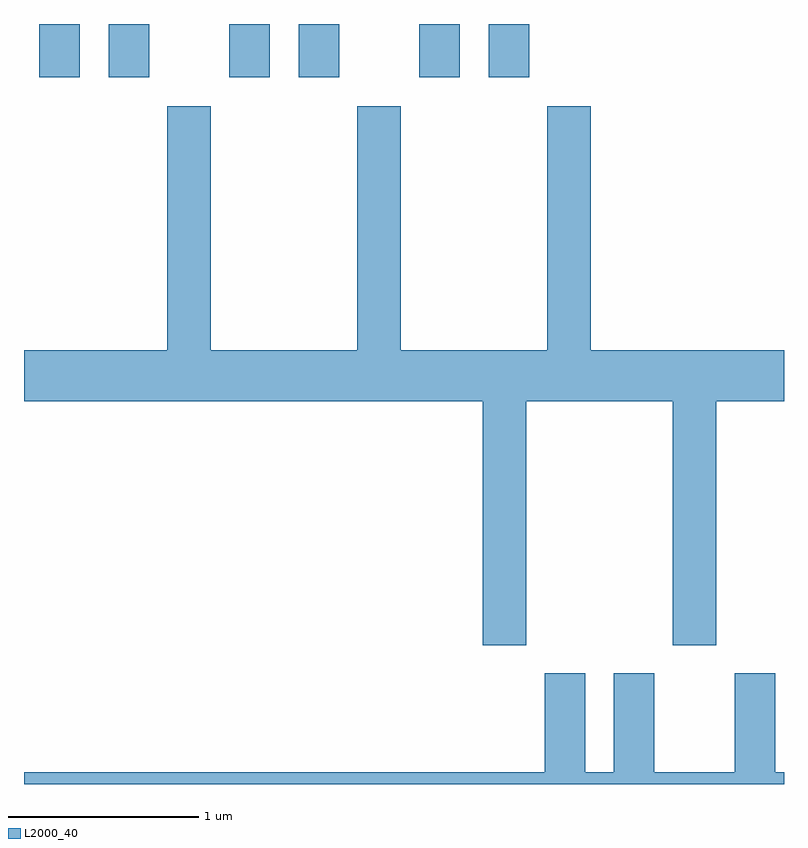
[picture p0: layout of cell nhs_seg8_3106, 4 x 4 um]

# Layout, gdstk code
import gdstk
lib = gdstk.Library(unit=1e-6, precision=1e-09)
def R(c, l, rs):  # rectangles x0, y0, x1, y1
    for r in rs: c.add(gdstk.rectangle(r[:2], r[2:], *l))
def P(c, l, *ps):  # polygons
    for p in ps: c.add(gdstk.Polygon(p, *l))
L2000_40 = (2000, 40)

nhs_seg8_3106 = lib.new_cell('nhs_seg8_3106')
R(nhs_seg8_3106, L2000_40, [(277.691,1898.061,277.904,1898.342), (278.056,1898.061,278.269,1898.342), (278.691,1898.061,278.904,1898.342), (279.056,1898.061,279.269,1898.342), (279.691,1898.061,279.904,1898.342), (280.056,1898.061,280.269,1898.342)])
P(nhs_seg8_3106, L2000_40, [(280.254,1896.356),(281.026,1896.356),(281.026,1895.071),(281.254,1895.071),(281.254,1896.356),(281.611,1896.356),(281.611,1896.624),(280.594,1896.624),(280.594,1897.909),(280.366,1897.909),(280.366,1896.624),(279.594,1896.624),(279.594,1897.909),(279.366,1897.909),(279.366,1896.624),(278.594,1896.624),(278.594,1897.909),(278.366,1897.909),(278.366,1896.624),(277.611,1896.624),(277.611,1896.356),(280.026,1896.356),(280.026,1895.071),(280.254,1895.071)],
  [(281.611,1894.404),(281.564,1894.404),(281.564,1894.924),(281.351,1894.924),(281.351,1894.404),(280.929,1894.404),(280.929,1894.924),(280.716,1894.924),(280.716,1894.404),(280.564,1894.404),(280.564,1894.924),(280.351,1894.924),(280.351,1894.404),(277.611,1894.404),(277.611,1894.342),(281.611,1894.342)])

lib.write_gds('nhs_seg8_3106.gds')
